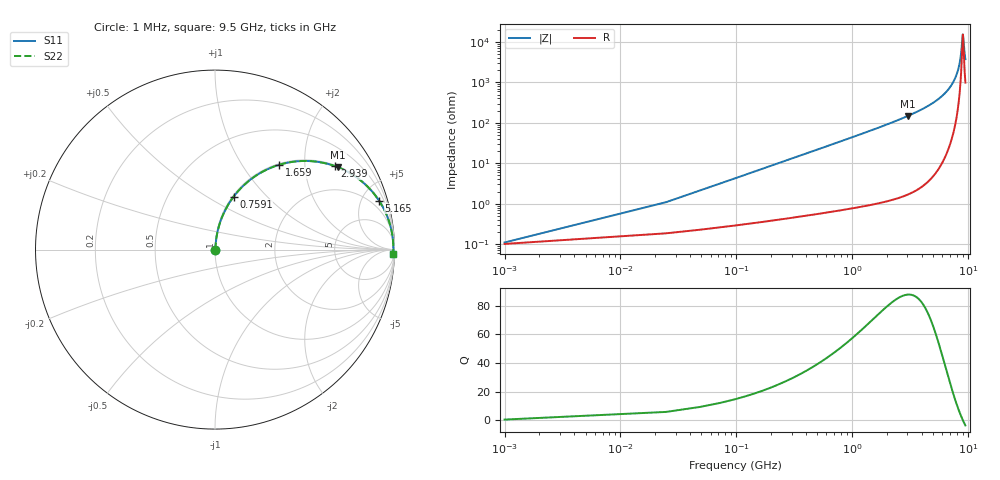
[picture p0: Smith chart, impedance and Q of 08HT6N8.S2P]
! Coilcraft 0805HT-6N8 Chip Inductor
! 24 June 2002
# MHZ S MA R 50
!Freq  MagS11  AngS11  MagS21  AngS21  MagS12  AngS12  MagS22  AngS22
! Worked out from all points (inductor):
!   402 points, 1 MHz to 9.5 GHz, reference 50 ohm
!   read as one part in series: L = 6.9 nH near 48.38 MHz
!   highest Q = 87.9 at 3.033 GHz (marker M1), where L = 7.78 nH
!   self-resonance near 9.027 GHz
!   S11 on the Smith chart (normalised r, x): 1 MHz: 1.00, +0.00; 759.1 MHz: 1.01, +0.66; 1.659 GHz: 1.02, +1.49; 2.939 GHz: 1.03, +2.85; 5.165 GHz: 1.11, +6.65; 9.5 GHz: 21, -72
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1  0.001099 23.2  0.999 -0.0  0.999 -0.0  0.001099 23.2
72.07  0.03126 83.5  0.9969 -1.8  0.9969 -1.8  0.03126 83.5
119.45  0.05166 83.6  0.9956 -3.0  0.9956 -3.0  0.05166 83.6
166.83  0.072 83.1  0.9939 -4.1  0.9939 -4.1  0.072 83.1
261.59  0.1124 81.4  0.9895 -6.4  0.9895 -6.4  0.1124 81.4
380.04  0.1621 79.0  0.9819 -9.3  0.9819 -9.3  0.1621 79.0
759.08  0.3128 70.6  0.9435 -18.2  0.9435 -18.2  0.3128 70.6
1588.23  0.5755 54.1  0.8099 -35.1  0.8099 -35.1  0.5755 54.1
1659.3  0.5934 52.8  0.7969 -36.4  0.7969 -36.4  0.5934 52.8
2938.56  0.8142 34.8  0.5714 -54.5  0.5714 -54.5  0.8142 34.8
3033.32  0.8247 33.8  0.5563 -55.5  0.5563 -55.5  0.8247 33.8
3175.46  0.8393 32.3  0.5343 -57.1  0.5343 -57.1  0.8393 32.3
4762.69  0.9398 19.2  0.3286 -70.0  0.3286 -70.0  0.9398 19.2
5165.42  0.9535 16.6  0.2866 -72.4  0.2866 -72.4  0.9535 16.6
6349.92  0.979 10.4  0.1799 -78.1  0.1799 -78.1  0.979 10.4
7273.83  0.9888 6.3  0.1104 -81.0  0.1104 -81.0  0.9888 6.3
7937.15  0.9923 3.8  0.06598 -81.4  0.06598 -81.4  0.9923 3.8
8576.78  0.9936 1.5  0.02704 -75.5  0.02704 -75.5  0.9936 1.5
9026.89  0.9935 0.0  0.006488 -3.4  0.006488 -3.4  0.9935 0.0
9097.96  0.9935 -0.2  0.007459 28.5  0.007459 28.5  0.9935 -0.2
9334.86  0.9931 -1.0  0.01794 66.9  0.01794 66.9  0.9931 -1.0
9500  0.9927 -1.5  0.02643 73.3  0.02643 73.3  0.9927 -1.5
